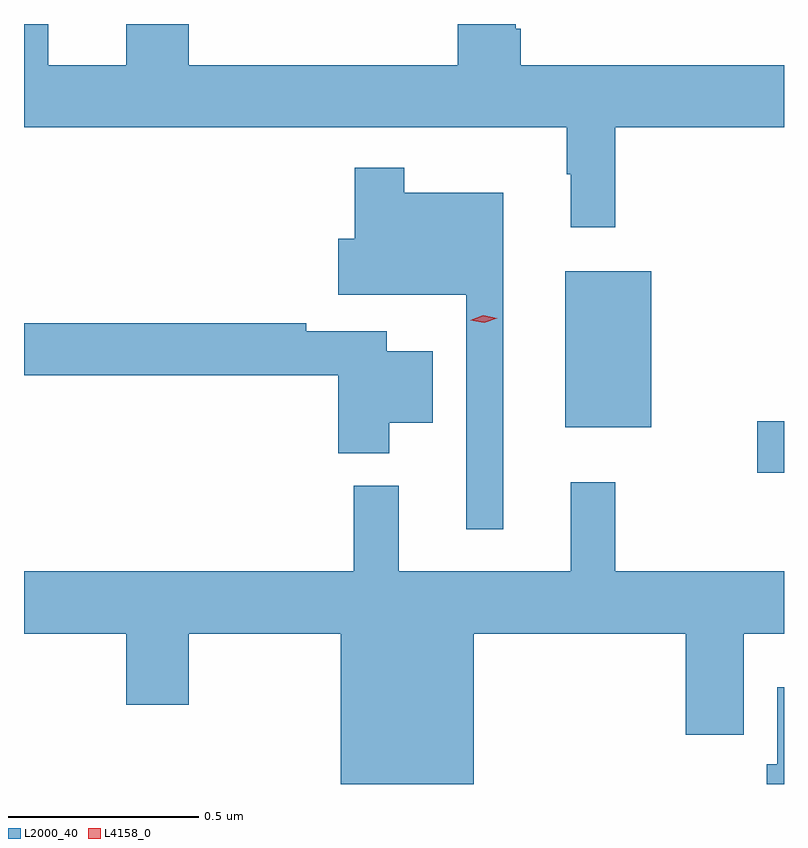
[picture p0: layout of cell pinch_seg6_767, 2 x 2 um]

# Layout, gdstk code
import gdstk
lib = gdstk.Library(unit=1e-6, precision=1e-09)
def R(c, l, rs):  # rectangles x0, y0, x1, y1
    for r in rs: c.add(gdstk.rectangle(r[:2], r[2:], *l))
def P(c, l, *ps):  # polygons
    for p in ps: c.add(gdstk.Polygon(p, *l))
L2000_40 = (2000, 40)
L4158_0 = (4158, 0)

pinch_seg6_767 = lib.new_cell('pinch_seg6_767')
R(pinch_seg6_767, L2000_40, [(550.284,937.103,550.355,937.238), (549.779,937.223,550.006,937.633)])
P(pinch_seg6_767, L2000_40, [(549.911,938.012),(550.355,938.012),(550.355,938.176),(549.662,938.176),(549.662,938.272),(549.649,938.272),(549.649,938.284),(549.497,938.284),(549.497,938.176),(548.788,938.176),(548.788,938.284),(548.624,938.284),(548.624,938.176),(548.419,938.176),(548.419,938.284),(548.355,938.284),(548.355,938.012),(549.783,938.012),(549.783,937.889),(549.794,937.889),(549.794,937.749),(549.911,937.749)],
  [(549.616,937.84),(549.355,937.84),(549.355,937.906),(549.226,937.906),(549.226,937.719),(549.182,937.719),(549.182,937.571),(549.519,937.571),(549.519,936.954),(549.616,936.954)],
  [(549.316,937.235),(549.43,937.235),(549.43,937.423),(549.31,937.423),(549.31,937.476),(549.098,937.476),(549.098,937.496),(548.355,937.496),(548.355,937.36),(549.182,937.36),(549.182,937.154),(549.316,937.154)],
  [(549.538,936.68),(550.097,936.68),(550.097,936.414),(550.249,936.414),(550.249,936.68),(550.355,936.68),(550.355,936.844),(549.911,936.844),(549.911,937.078),(549.794,937.078),(549.794,936.844),(549.341,936.844),(549.341,937.069),(549.223,937.069),(549.223,936.844),(548.355,936.844),(548.355,936.68),(548.624,936.68),(548.624,936.492),(548.788,936.492),(548.788,936.68),(549.188,936.68),(549.188,936.284),(549.538,936.284)],
  [(550.355,936.538),(550.337,936.538),(550.337,936.336),(550.31,936.336),(550.31,936.284),(550.355,936.284)])
P(pinch_seg6_767, L4158_0, [(549.566,937.498),(549.529,937.505),(549.529,937.505),(549.529,937.505),(549.564,937.517),(549.6,937.51),(549.6,937.51),(549.6,937.51)])

lib.write_gds('pinch_seg6_767.gds')
